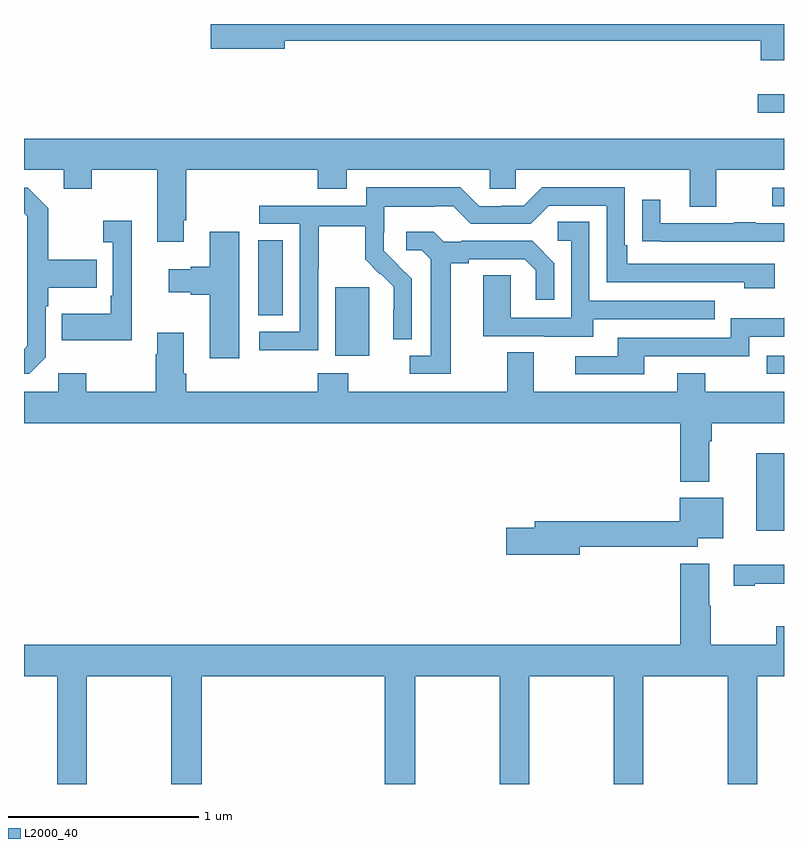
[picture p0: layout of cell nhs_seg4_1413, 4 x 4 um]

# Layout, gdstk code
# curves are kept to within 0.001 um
import gdstk
lib = gdstk.Library(unit=1e-6, precision=1e-09)
def R(c, l, rs):  # rectangles x0, y0, x1, y1
    for r in rs: c.add(gdstk.rectangle(r[:2], r[2:], *l))
def P(c, l, *ps):  # polygons
    for p in ps: c.add(gdstk.Polygon(p, *l))
L2000_40 = (2000, 40)

nhs_seg4_1413 = lib.new_cell('nhs_seg4_1413')
R(nhs_seg4_1413, L2000_40, [(186.854,816.234,187,816.64), (186.909,817.059,187,817.155), (184.637,817.154,184.816,817.515), (184.232,817.366,184.363,817.763), (186.939,817.941,187,818.037), (186.861,818.432,187,818.529)])
P(nhs_seg4_1413, L2000_40, [(187,818.9),(183.984,818.9),(183.984,818.77),(184.372,818.77),(184.372,818.812),(186.878,818.812),(186.878,818.708),(187,818.708)],
  [(183.841,817.867),(183.854,817.867),(183.854,818.132),(184.547,818.132),(184.547,818.033),(184.699,818.033),(184.699,818.132),(185.451,818.132),(185.451,818.034),(185.589,818.034),(185.589,818.132),(186.503,818.132),(186.503,817.938),(186.643,817.938),(186.643,818.132),(187,818.132),(187,818.296),(183,818.296),(183,818.132),(183.209,818.132),(183.209,818.033),(183.357,818.033),(183.357,818.132),(183.701,818.132),(183.701,817.755),(183.841,817.755)],
  [(184.548,817.612),(184.551,817.612),(184.551,817.836),(184.795,817.836),(184.795,817.661),(184.872,817.584),(184.875,817.587),(184.946,817.517),(184.946,817.394),(184.944,817.394),(184.944,817.24),(185.04,817.24),(185.04,817.558),(184.894,817.706),(184.894,817.803),(184.896,817.803),(184.896,817.937),(185.159,817.937),(185.159,817.941),(185.259,817.941),(185.352,817.848),(185.667,817.848),(185.763,817.944),(186.066,817.944),(186.066,817.542),(186.791,817.542),(186.791,817.508),(186.952,817.508),(186.952,817.638),(186.175,817.638),(186.175,817.735),(186.162,817.735),(186.162,818.04),(185.727,818.04),(185.631,817.944),(185.513,817.944),(185.513,817.941),(185.397,817.941),(185.297,818.041),(184.8,818.041),(184.8,817.944),(184.239,817.944),(184.239,817.848),(184.452,817.848),(184.452,817.281),(184.239,817.281),(184.239,817.183),(184.548,817.183)],
  [(183.114,817.146),(183.114,817.415),(183.127,817.415),(183.127,817.511),(183.383,817.511),(183.383,817.659),(183.127,817.659),(183.127,817.931),(183.021,818.037),(183,818.037),(183,817.905),(183.018,817.887),(183.018,817.206),(183,817.188),(183,817.059),(183.027,817.059)],
  [(187,817.851),(186.851,817.851),(186.851,817.856),(186.739,817.856),(186.739,817.851),(186.349,817.851),(186.349,817.975),(186.253,817.975),(186.253,817.756),(186.355,817.756),(186.355,817.755),(187,817.755)],
  [(183.566,817.864),(183.417,817.864),(183.417,817.751),(183.468,817.751),(183.468,817.471),(183.456,817.471),(183.456,817.375),(183.199,817.375),(183.199,817.235),(183.566,817.235)],
  [(185.995,817.347),(186.635,817.347),(186.635,817.443),(185.976,817.443),(185.976,817.859),(185.808,817.859),(185.808,817.758),(185.88,817.758),(185.88,817.353),(185.562,817.353),(185.562,817.577),(185.417,817.577),(185.417,817.257),(185.741,817.257),(185.741,817.253),(185.995,817.253)],
  [(184.132,817.807),(183.977,817.807),(183.977,817.622),(183.878,817.622),(183.878,817.609),(183.762,817.609),(183.762,817.487),(183.878,817.487),(183.878,817.475),(183.977,817.475),(183.977,817.14),(184.132,817.14)],
  [(185.245,817.64),(185.341,817.64),(185.341,817.662),(185.636,817.662),(185.693,817.605),(185.693,817.449),(185.79,817.449),(185.79,817.642),(185.674,817.758),(185.302,817.758),(185.302,817.755),(185.208,817.755),(185.156,817.807),(185.013,817.807),(185.013,817.71),(185.094,817.71),(185.141,817.663),(185.141,817.155),(185.031,817.155),(185.031,817.059),(185.245,817.059)],
  [(186.265,817.152),(186.816,817.152),(186.816,817.254),(187,817.254),(187,817.354),(186.997,817.351),(186.72,817.351),(186.72,817.248),(186.125,817.248),(186.125,817.152),(185.901,817.152),(185.901,817.056),(186.265,817.056)],
  [(186.607,816.704),(186.62,816.704),(186.62,816.8),(187,816.8),(187,816.964),(186.585,816.964),(186.585,817.063),(186.437,817.063),(186.437,816.964),(185.683,816.964),(185.683,817.172),(185.543,817.172),(185.543,816.964),(184.707,816.964),(184.707,817.063),(184.547,817.063),(184.547,816.964),(183.854,816.964),(183.854,817.06),(183.841,817.06),(183.841,817.276),(183.701,817.276),(183.701,817.163),(183.694,817.163),(183.694,816.964),(183.327,816.964),(183.327,817.063),(183.18,817.063),(183.18,816.964),(183,816.964),(183,816.8),(186.455,816.8),(186.455,816.491),(186.607,816.491)],
  [(185.926,816.148),(186.546,816.148),(186.546,816.194),(186.679,816.194),(186.679,816.406),(186.452,816.406),(186.452,816.284),(185.687,816.284),(185.687,816.248),(185.538,816.248),(185.538,816.106),(185.926,816.106)],
  [(183,815.468),(183.175,815.468),(183.175,814.9),(183.33,814.9),(183.33,815.468),(183.775,815.468),(183.775,814.9),(183.935,814.9),(183.935,815.468),(184.898,815.468),(184.898,814.9),(185.058,814.9),(185.058,815.468),(185.503,815.468),(185.503,814.9),(185.658,814.9),(185.658,815.468),(186.103,815.468),(186.103,814.9),(186.258,814.9),(186.258,815.468),(186.703,815.468),(186.703,814.9),(186.858,814.9),(186.858,815.468),(187,815.468),(187,815.731),(186.958,815.731),(186.958,815.632),(186.615,815.632),(186.615,815.837),(186.607,815.837),(186.607,816.058),(186.455,816.058),(186.455,815.632),(183,815.632)],
  [(186.847,815.953),(187,815.953),(187,816.053),(186.735,816.053),(186.735,815.943),(186.847,815.943)])

lib.write_gds('nhs_seg4_1413.gds')
